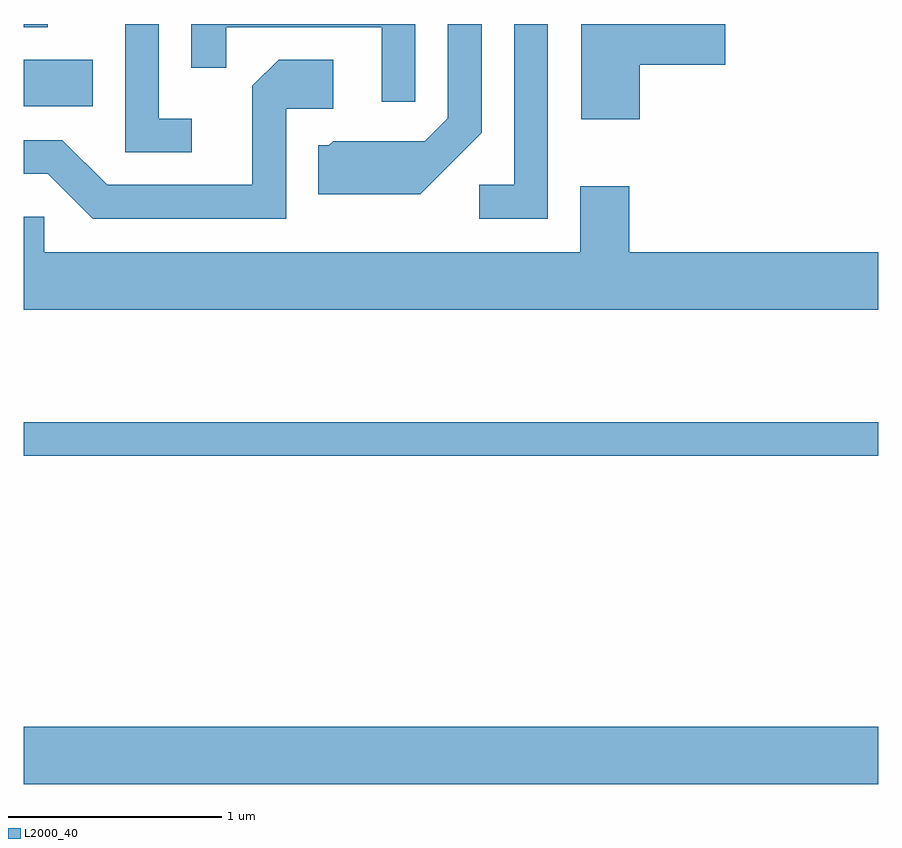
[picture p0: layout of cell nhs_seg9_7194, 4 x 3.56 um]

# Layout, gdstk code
import gdstk
lib = gdstk.Library(unit=1e-6, precision=1e-09)
def R(c, l, rs):  # rectangles x0, y0, x1, y1
    for r in rs: c.add(gdstk.rectangle(r[:2], r[2:], *l))
def P(c, l, *ps):  # polygons
    for p in ps: c.add(gdstk.Polygon(p, *l))
L2000_40 = (2000, 40)

nhs_seg9_7194 = lib.new_cell('nhs_seg9_7194')
R(nhs_seg9_7194, L2000_40, [(397.611,2042.876,401.611,2043.144), (397.611,2044.411,401.611,2044.569), (397.611,2046.046,397.934,2046.264), (397.611,2046.416,397.724,2046.432)])
P(nhs_seg9_7194, L2000_40, [(400.494,2046.241),(400.894,2046.241),(400.894,2046.432),(400.221,2046.432),(400.221,2045.986),(400.494,2045.986)],
  [(399.444,2046.432),(398.396,2046.432),(398.396,2046.228),(398.559,2046.228),(398.559,2046.416),(399.286,2046.416),(399.286,2046.068),(399.444,2046.068)],
  [(400.064,2046.432),(399.906,2046.432),(399.906,2045.679),(399.743,2045.679),(399.743,2045.521),(400.064,2045.521)],
  [(399.754,2045.924),(399.754,2046.432),(399.596,2046.432),(399.596,2045.992),(399.489,2045.884),(399.059,2045.884),(399.039,2045.864),(398.991,2045.864),(398.991,2045.636),(399.467,2045.636)],
  [(398.398,2045.989),(398.244,2045.989),(398.244,2046.432),(398.086,2046.432),(398.086,2045.831),(398.398,2045.831)],
  [(398.839,2046.036),(399.059,2046.036),(399.059,2046.264),(398.804,2046.264),(398.681,2046.142),(398.681,2045.679),(398.002,2045.679),(397.792,2045.889),(397.611,2045.889),(397.611,2045.731),(397.724,2045.731),(397.934,2045.521),(398.839,2045.521)],
  [(401.611,2045.364),(400.444,2045.364),(400.444,2045.674),(400.216,2045.674),(400.216,2045.364),(397.709,2045.364),(397.709,2045.529),(397.611,2045.529),(397.611,2045.096),(401.611,2045.096)])

lib.write_gds('nhs_seg9_7194.gds')
